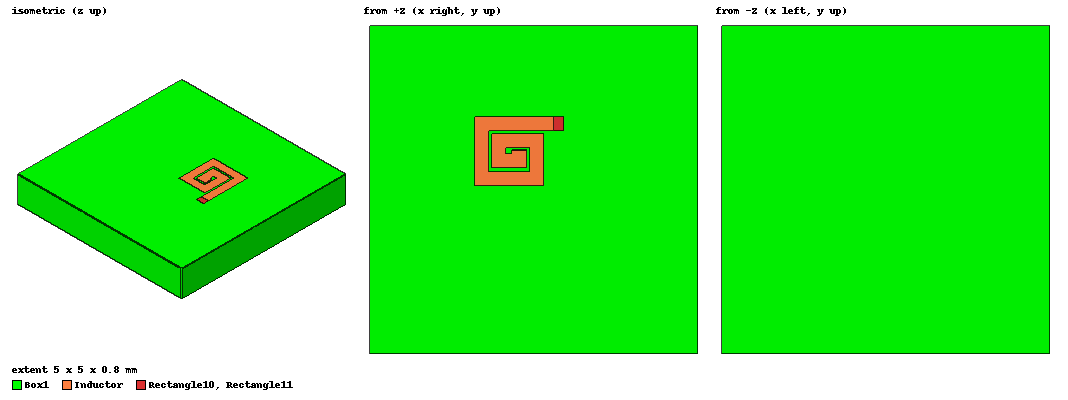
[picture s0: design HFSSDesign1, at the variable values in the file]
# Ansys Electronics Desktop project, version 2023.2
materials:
  vacuum: permittivity=1
  FR4_epoxy: permittivity=4.4 dielectric_loss_tangent=0.02

design HFSSDesign1 (HFSS, HFSS Terminal Network, model units mm)
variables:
  w = -0.214mm
  W1 = 2.14mm
  W_ = 0.214mm
  s = 0.048mm
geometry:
  Box1 [FR4_epoxy] = box(corner=(0mm, 0mm, 0mm), size=(5mm, 5mm, -0.8mm))
  Inductor = rectangle(corner=(1.6mm, 3.4mm, 0mm), x_size=1.2mm, y_size=W_)
  Rectangle2 = rectangle(corner=(1.6mm, 3.507mm, 0mm), x_size=W_, y_size=-0.941mm)
  Rectangle3 = rectangle(corner=(1.6mm, 2.566mm, 0mm), x_size=1.048mm, y_size=w_)
  Rectangle5 = rectangle(corner=(2.648mm, 2.566mm, 0mm), x_size=-w_, y_size=0.786mm)
  Rectangle6 = rectangle(corner=(2.648mm, 3.352mm, 0mm), x_size=-0.786mm, y_size=-W_)
  Rectangle7 = rectangle(corner=(1.862mm, 3.352mm, 0mm), x_size=W_, y_size=-0.524mm)
  Rectangle8 = rectangle(corner=(2.076mm, 2.828mm, 0mm), x_size=0.31mm, y_size=W_)
  Rectangle9 = rectangle(corner=(2.386mm, 2.828mm, 0mm), x_size=-W_, y_size=0.262mm)
  Inductor.unite(Rectangle2, Rectangle3, Rectangle5..Rectangle9)
  Rectangle10 = rectangle(corner=(2.8mm, 3.4mm, 0mm), x_size=0.15mm, y_size=W_)
  Rectangle11 = rectangle(corner=(2.172mm, 3.09mm, 0mm), x_size=W_, y_size=0.02mm)
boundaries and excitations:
  PerfE1: Perfect E Objects=Inductor
  1: Lumped Port Objects=Rectangle10 LumpedPortType=Modal Modes{Mode1{IntLine{(2.95, 3.507, 0) -> (2.8, 3.507, 0)} CharImp=Zpi RenormImp=50ohm}} Impedance=50ohm
  2: Lumped Port Objects=Rectangle11 LumpedPortType=Modal Modes{Mode1{IntLine{(2.279, 3.09, 0) -> (2.279, 3.11, 0)} CharImp=Zpi RenormImp=50ohm}} Impedance=50ohm
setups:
  Setup1: HfssDriven Frequency=0.868GHz MaxDeltaS=0.02 MaximumPasses=6 MinimumPasses=1 MinimumConvergedPasses=1 PercentRefinement=30 BasisOrder=1 PortAccuracy=2 DrivenSolverType="Direct Solver"
    sweep Sweep: 0.434GHz to 1.302GHz, 401 points; Type=Interpolating InterpTolerance=0.5 InterpMaxSolns=250 PassivityErrorTolerance=0.0001
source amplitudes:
  1:1: 1V 0deg
  2:1: 0V 0deg
